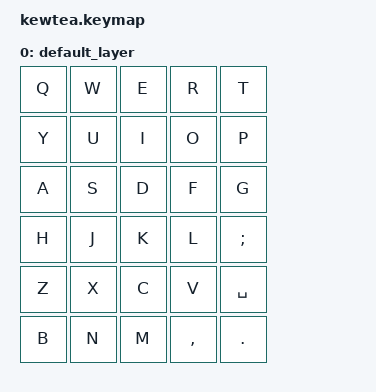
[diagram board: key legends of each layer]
/*
 * kewtea.keymap
 *
 * Single-layer QWERTY keymap for the kewtea 30% ortholinear keyboard.
 * Layout (3 rows × 10 columns, 30 keys total):
 *
 *   Q  W  E  R  T  Y  U  I  O  P
 *   A  S  D  F  G  H  J  K  L  ;
 *   Z  X  C  V  __ B  N  M  ,  .
 *
 * The bottom-row centre key (ROW2/COL4) is Space.
 */

#include <behaviors.dtsi>
#include <dt-bindings/zmk/keys.h>

/ {
    keymap {
        compatible = "zmk,keymap";

        /**
         * @brief Default layer — unshifted QWERTY with space in the centre.
         *
         * Bindings are listed left-to-right, top-to-bottom, matching the
         * physical key order reported by the kscan matrix in kewtea.overlay.
         */
        default_layer {
            bindings = <
                &kp Q    &kp W    &kp E    &kp R    &kp T
                &kp Y    &kp U    &kp I    &kp O    &kp P

                &kp A    &kp S    &kp D    &kp F    &kp G
                &kp H    &kp J    &kp K    &kp L    &kp SEMI

                &kp Z    &kp X    &kp C    &kp V    &kp SPACE
                &kp B    &kp N    &kp M    &kp COMMA &kp DOT
            >;
        };
    };
};
